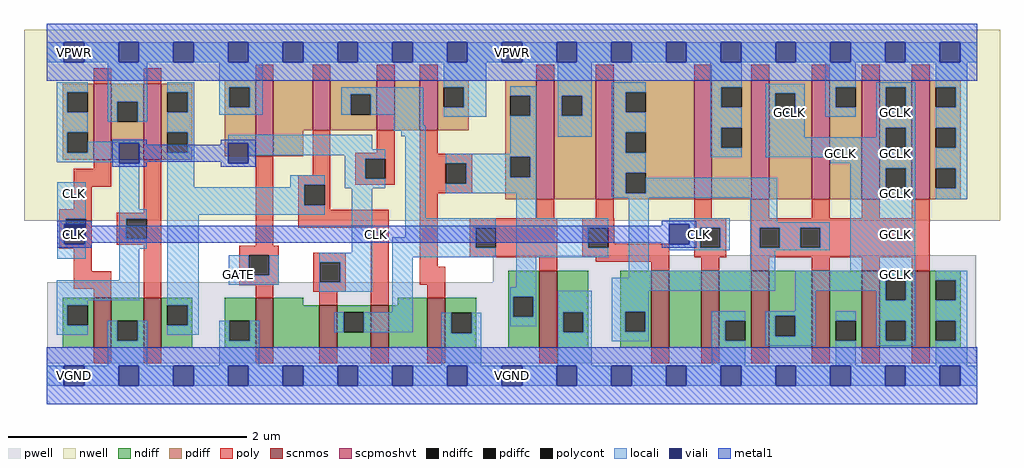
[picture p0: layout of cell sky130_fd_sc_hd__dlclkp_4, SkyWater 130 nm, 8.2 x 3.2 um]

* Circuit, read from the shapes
.subckt sky130_fd_sc_hd__dlclkp_4 CLK GATE VGND VNB VPB VPWR GCLK
XM1 VGND CLK n1 VNB sky130_fd_pr__nfet_01v8 w=0.42 l=0.15
XM2 n2 n1 VGND VNB sky130_fd_pr__nfet_01v8 w=0.42 l=0.15
XM3 n3 GATE VGND VNB sky130_fd_pr__nfet_01v8 w=0.42 l=0.15
XM4 n4 n1 n3 VNB sky130_fd_pr__nfet_01v8 w=0.36 l=0.15
XM5 n5 n2 n4 VNB sky130_fd_pr__nfet_01v8 w=0.36 l=0.15
XM6 VGND n6 n5 VNB sky130_fd_pr__nfet_01v8 w=0.42 l=0.15
XM7 VGND n4 n6 VNB sky130_fd_pr__nfet_01v8 w=0.65 l=0.15
XM8 n7 n6 n8 VNB sky130_fd_pr__nfet_01v8 w=0.65 l=0.15
XM9 VGND CLK n7 VNB sky130_fd_pr__nfet_01v8 w=0.65 l=0.15
XM10 GCLK n8 VGND VNB sky130_fd_pr__nfet_01v8 w=0.65 l=0.15 m=4
XM11 VPWR CLK n1 VPB sky130_fd_pr__pfet_01v8_hvt w=0.64 l=0.15
XM12 n2 n1 VPWR VPB sky130_fd_pr__pfet_01v8_hvt w=0.64 l=0.15
XM13 n9 GATE VPWR VPB sky130_fd_pr__pfet_01v8_hvt w=0.64 l=0.15
XM14 n4 n2 n9 VPB sky130_fd_pr__pfet_01v8_hvt w=0.42 l=0.15
XM15 n10 n1 n4 VPB sky130_fd_pr__pfet_01v8_hvt w=0.42 l=0.15
XM16 VPWR n6 n10 VPB sky130_fd_pr__pfet_01v8_hvt w=0.42 l=0.15
XM17 VPWR n4 n6 VPB sky130_fd_pr__pfet_01v8_hvt w=1 l=0.15
XM18 n8 n6 VPWR VPB sky130_fd_pr__pfet_01v8_hvt w=1 l=0.15
XM19 VPWR CLK n8 VPB sky130_fd_pr__pfet_01v8_hvt w=1 l=0.15
XM20 GCLK n8 VPWR VPB sky130_fd_pr__pfet_01v8_hvt w=1 l=0.15 m=4
.ends

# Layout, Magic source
magic
tech sky130A
magscale 1 2
<< nwell >>
rect -38 261 1602 582
<< pwell >>
rect 750 157 1562 203
rect 1 21 1562 157
rect 30 -17 64 21
<< scnmos >>
rect 79 47 109 131
rect 163 47 193 131
rect 351 47 381 131
rect 458 47 488 119
rect 545 47 575 119
rect 640 47 670 131
rect 828 47 858 177
rect 1016 47 1046 177
rect 1100 47 1130 177
rect 1184 47 1214 177
rect 1286 47 1316 177
rect 1370 47 1400 177
rect 1454 47 1484 177
<< scpmoshvt >>
rect 79 363 109 491
rect 163 363 193 491
rect 351 369 381 497
rect 447 413 477 497
rect 555 413 585 497
rect 627 413 657 497
rect 823 297 853 497
rect 923 297 953 497
rect 1088 297 1118 497
rect 1184 297 1214 497
rect 1286 297 1316 497
rect 1370 297 1400 497
rect 1454 297 1484 497
<< ndiff >>
rect 27 119 79 131
rect 27 85 35 119
rect 69 85 79 119
rect 27 47 79 85
rect 109 93 163 131
rect 109 59 119 93
rect 153 59 163 93
rect 109 47 163 59
rect 193 119 245 131
rect 193 85 203 119
rect 237 85 245 119
rect 193 47 245 85
rect 299 93 351 131
rect 299 59 307 93
rect 341 59 351 93
rect 299 47 351 59
rect 381 119 431 131
rect 776 133 828 177
rect 590 119 640 131
rect 381 47 458 119
rect 488 107 545 119
rect 488 73 499 107
rect 533 73 545 107
rect 488 47 545 73
rect 575 47 640 119
rect 670 106 722 131
rect 670 72 680 106
rect 714 72 722 106
rect 670 47 722 72
rect 776 99 784 133
rect 818 99 828 133
rect 776 47 828 99
rect 858 107 910 177
rect 858 73 868 107
rect 902 73 910 107
rect 858 47 910 73
rect 964 108 1016 177
rect 964 74 972 108
rect 1006 74 1016 108
rect 964 47 1016 74
rect 1046 47 1100 177
rect 1130 93 1184 177
rect 1130 59 1140 93
rect 1174 59 1184 93
rect 1130 47 1184 59
rect 1214 101 1286 177
rect 1214 67 1224 101
rect 1258 67 1286 101
rect 1214 47 1286 67
rect 1316 93 1370 177
rect 1316 59 1326 93
rect 1360 59 1370 93
rect 1316 47 1370 59
rect 1400 161 1454 177
rect 1400 127 1410 161
rect 1444 127 1454 161
rect 1400 93 1454 127
rect 1400 59 1410 93
rect 1444 59 1454 93
rect 1400 47 1454 59
rect 1484 161 1536 177
rect 1484 127 1494 161
rect 1528 127 1536 161
rect 1484 93 1536 127
rect 1484 59 1494 93
rect 1528 59 1536 93
rect 1484 47 1536 59
<< pdiff >>
rect 27 477 79 491
rect 27 443 35 477
rect 69 443 79 477
rect 27 409 79 443
rect 27 375 35 409
rect 69 375 79 409
rect 27 363 79 375
rect 109 461 163 491
rect 109 427 119 461
rect 153 427 163 461
rect 109 363 163 427
rect 193 477 245 491
rect 193 443 203 477
rect 237 443 245 477
rect 193 409 245 443
rect 193 375 203 409
rect 237 375 245 409
rect 193 363 245 375
rect 299 485 351 497
rect 299 451 307 485
rect 341 451 351 485
rect 299 369 351 451
rect 381 413 447 497
rect 477 473 555 497
rect 477 439 511 473
rect 545 439 555 473
rect 477 413 555 439
rect 585 413 627 497
rect 657 485 709 497
rect 657 451 667 485
rect 701 451 709 485
rect 657 413 709 451
rect 771 471 823 497
rect 771 437 779 471
rect 813 437 823 471
rect 381 369 431 413
rect 771 368 823 437
rect 771 334 779 368
rect 813 334 823 368
rect 771 297 823 334
rect 853 471 923 497
rect 853 437 866 471
rect 900 437 923 471
rect 853 297 923 437
rect 953 477 1088 497
rect 953 443 973 477
rect 1007 443 1088 477
rect 953 409 1088 443
rect 953 375 973 409
rect 1007 375 1088 409
rect 953 341 1088 375
rect 953 307 973 341
rect 1007 307 1088 341
rect 953 297 1088 307
rect 1118 485 1184 497
rect 1118 451 1134 485
rect 1168 451 1184 485
rect 1118 417 1184 451
rect 1118 383 1134 417
rect 1168 383 1184 417
rect 1118 297 1184 383
rect 1214 475 1286 497
rect 1214 441 1224 475
rect 1258 441 1286 475
rect 1214 297 1286 441
rect 1316 485 1370 497
rect 1316 451 1326 485
rect 1360 451 1370 485
rect 1316 297 1370 451
rect 1400 485 1454 497
rect 1400 451 1410 485
rect 1444 451 1454 485
rect 1400 417 1454 451
rect 1400 383 1410 417
rect 1444 383 1454 417
rect 1400 349 1454 383
rect 1400 315 1410 349
rect 1444 315 1454 349
rect 1400 297 1454 315
rect 1484 485 1536 497
rect 1484 451 1494 485
rect 1528 451 1536 485
rect 1484 417 1536 451
rect 1484 383 1494 417
rect 1528 383 1536 417
rect 1484 349 1536 383
rect 1484 315 1494 349
rect 1528 315 1536 349
rect 1484 297 1536 315
<< ndiffc >>
rect 35 85 69 119
rect 119 59 153 93
rect 203 85 237 119
rect 307 59 341 93
rect 499 73 533 107
rect 680 72 714 106
rect 784 99 818 133
rect 868 73 902 107
rect 972 74 1006 108
rect 1140 59 1174 93
rect 1224 67 1258 101
rect 1326 59 1360 93
rect 1410 127 1444 161
rect 1410 59 1444 93
rect 1494 127 1528 161
rect 1494 59 1528 93
<< pdiffc >>
rect 35 443 69 477
rect 35 375 69 409
rect 119 427 153 461
rect 203 443 237 477
rect 203 375 237 409
rect 307 451 341 485
rect 511 439 545 473
rect 667 451 701 485
rect 779 437 813 471
rect 779 334 813 368
rect 866 437 900 471
rect 973 443 1007 477
rect 973 375 1007 409
rect 973 307 1007 341
rect 1134 451 1168 485
rect 1134 383 1168 417
rect 1224 441 1258 475
rect 1326 451 1360 485
rect 1410 451 1444 485
rect 1410 383 1444 417
rect 1410 315 1444 349
rect 1494 451 1528 485
rect 1494 383 1528 417
rect 1494 315 1528 349
<< poly >>
rect 79 491 109 517
rect 163 491 193 517
rect 351 497 381 523
rect 447 497 477 523
rect 555 497 585 523
rect 627 497 657 523
rect 823 497 853 523
rect 923 497 953 523
rect 1088 497 1118 523
rect 1184 497 1214 523
rect 1286 497 1316 523
rect 1370 497 1400 523
rect 1454 497 1484 523
rect 79 348 109 363
rect 46 318 109 348
rect 46 280 76 318
rect 21 264 76 280
rect 163 274 193 363
rect 21 230 32 264
rect 66 230 76 264
rect 21 214 76 230
rect 118 264 193 274
rect 118 230 134 264
rect 168 230 193 264
rect 118 220 193 230
rect 46 176 76 214
rect 46 146 109 176
rect 79 131 109 146
rect 163 131 193 220
rect 351 219 381 369
rect 447 337 477 413
rect 555 375 585 413
rect 423 321 477 337
rect 519 365 585 375
rect 519 331 535 365
rect 569 331 585 365
rect 519 321 585 331
rect 627 373 657 413
rect 627 357 715 373
rect 627 323 671 357
rect 705 323 715 357
rect 423 287 433 321
rect 467 287 477 321
rect 423 279 477 287
rect 627 307 715 323
rect 423 249 575 279
rect 324 203 390 219
rect 324 169 340 203
rect 374 169 390 203
rect 324 153 390 169
rect 448 191 503 207
rect 448 157 459 191
rect 493 157 503 191
rect 324 152 381 153
rect 351 131 381 152
rect 448 141 503 157
rect 458 119 488 141
rect 545 119 575 249
rect 627 183 657 307
rect 823 265 853 297
rect 923 265 953 297
rect 1088 265 1118 297
rect 1184 265 1214 297
rect 1286 265 1316 297
rect 1370 265 1400 297
rect 1454 265 1484 297
rect 711 249 858 265
rect 711 215 721 249
rect 755 215 858 249
rect 711 199 858 215
rect 900 249 954 265
rect 900 215 910 249
rect 944 222 954 249
rect 1088 249 1142 265
rect 944 215 1046 222
rect 900 199 1046 215
rect 1088 215 1098 249
rect 1132 215 1142 249
rect 1088 199 1142 215
rect 1184 249 1484 265
rect 1184 215 1198 249
rect 1232 215 1266 249
rect 1300 215 1484 249
rect 1184 199 1484 215
rect 627 153 670 183
rect 828 177 858 199
rect 923 192 1046 199
rect 1016 177 1046 192
rect 1100 177 1130 199
rect 1184 177 1214 199
rect 1286 177 1316 199
rect 1370 177 1400 199
rect 1454 177 1484 199
rect 640 131 670 153
rect 79 21 109 47
rect 163 21 193 47
rect 351 21 381 47
rect 458 21 488 47
rect 545 21 575 47
rect 640 21 670 47
rect 828 21 858 47
rect 1016 21 1046 47
rect 1100 21 1130 47
rect 1184 21 1214 47
rect 1286 21 1316 47
rect 1370 21 1400 47
rect 1454 21 1484 47
<< polycont >>
rect 32 230 66 264
rect 134 230 168 264
rect 535 331 569 365
rect 671 323 705 357
rect 433 287 467 321
rect 340 169 374 203
rect 459 157 493 191
rect 721 215 755 249
rect 910 215 944 249
rect 1098 215 1132 249
rect 1198 215 1232 249
rect 1266 215 1300 249
<< locali >>
rect 0 527 29 561
rect 63 527 121 561
rect 155 527 213 561
rect 247 527 305 561
rect 339 527 397 561
rect 431 527 489 561
rect 523 527 581 561
rect 615 527 673 561
rect 707 527 765 561
rect 799 527 857 561
rect 891 527 949 561
rect 983 527 1041 561
rect 1075 527 1133 561
rect 1167 527 1225 561
rect 1259 527 1317 561
rect 1351 527 1409 561
rect 1443 527 1501 561
rect 1535 527 1564 561
rect 17 477 69 493
rect 17 443 35 477
rect 17 409 69 443
rect 103 461 169 527
rect 103 427 119 461
rect 153 427 169 461
rect 203 477 248 493
rect 237 443 248 477
rect 17 375 35 409
rect 203 409 248 443
rect 290 485 363 527
rect 667 485 739 527
rect 290 451 307 485
rect 341 451 363 485
rect 290 439 363 451
rect 495 473 633 485
rect 495 439 511 473
rect 545 439 633 473
rect 583 421 633 439
rect 701 451 739 485
rect 667 435 739 451
rect 779 471 823 487
rect 813 437 823 471
rect 583 418 636 421
rect 583 412 637 418
rect 69 391 156 393
rect 69 375 122 391
rect 17 359 122 375
rect 18 264 66 325
rect 18 255 32 264
rect 18 221 30 255
rect 64 221 66 230
rect 18 197 66 221
rect 122 280 156 357
rect 237 375 248 409
rect 203 317 248 375
rect 305 391 547 405
rect 596 403 637 412
rect 339 381 547 391
rect 339 371 569 381
rect 501 365 569 371
rect 409 321 467 337
rect 409 317 433 321
rect 203 287 433 317
rect 501 331 535 365
rect 501 315 569 331
rect 122 264 168 280
rect 122 230 134 264
rect 122 214 168 230
rect 203 271 467 287
rect 122 161 156 214
rect 17 127 156 161
rect 17 119 69 127
rect 17 85 35 119
rect 203 119 256 271
rect 513 207 547 315
rect 603 265 637 403
rect 779 373 823 437
rect 859 471 916 527
rect 859 437 866 471
rect 900 437 916 471
rect 859 402 916 437
rect 950 477 1007 493
rect 950 443 973 477
rect 950 409 1007 443
rect 671 368 823 373
rect 671 357 779 368
rect 705 334 779 357
rect 813 334 823 368
rect 705 323 823 334
rect 671 307 823 323
rect 789 265 823 307
rect 950 375 973 409
rect 950 341 1007 375
rect 1115 485 1168 527
rect 1115 451 1134 485
rect 1115 417 1168 451
rect 1115 383 1134 417
rect 1115 367 1168 383
rect 1208 475 1274 491
rect 1208 441 1224 475
rect 1258 441 1274 475
rect 1208 401 1274 441
rect 1308 485 1360 527
rect 1308 451 1326 485
rect 1308 435 1360 451
rect 1394 485 1460 493
rect 1394 451 1410 485
rect 1444 451 1460 485
rect 1394 417 1460 451
rect 1394 401 1410 417
rect 1208 383 1410 401
rect 1444 383 1460 417
rect 1208 367 1460 383
rect 1317 357 1460 367
rect 950 307 973 341
rect 1350 349 1460 357
rect 1007 307 1228 333
rect 950 299 1228 307
rect 603 249 755 265
rect 603 233 721 249
rect 306 169 340 203
rect 374 169 390 203
rect 306 153 390 169
rect 458 191 547 207
rect 458 157 459 191
rect 493 157 547 191
rect 458 141 547 157
rect 581 215 721 233
rect 581 199 755 215
rect 789 249 944 265
rect 789 215 910 249
rect 789 199 944 215
rect 17 69 69 85
rect 103 59 119 93
rect 153 59 169 93
rect 237 85 256 119
rect 581 107 615 199
rect 789 149 823 199
rect 978 177 1012 299
rect 1046 255 1148 265
rect 1080 249 1148 255
rect 1080 221 1098 249
rect 1046 215 1098 221
rect 1132 215 1148 249
rect 1046 211 1148 215
rect 1182 258 1228 299
rect 1350 315 1410 349
rect 1444 315 1460 349
rect 1182 249 1316 258
rect 1182 215 1198 249
rect 1232 215 1266 249
rect 1300 215 1316 249
rect 1182 211 1316 215
rect 1182 177 1224 211
rect 1350 177 1460 315
rect 1494 485 1547 527
rect 1528 451 1547 485
rect 1494 417 1547 451
rect 1528 383 1547 417
rect 1494 349 1547 383
rect 1528 315 1547 349
rect 1494 297 1547 315
rect 978 165 1224 177
rect 203 69 256 85
rect 103 17 169 59
rect 290 59 307 93
rect 341 59 357 93
rect 483 73 499 107
rect 533 73 615 107
rect 779 133 823 149
rect 950 143 1224 165
rect 1258 161 1460 177
rect 1258 143 1410 161
rect 290 17 357 59
rect 663 72 680 106
rect 714 72 730 106
rect 779 99 784 133
rect 818 99 823 133
rect 779 83 823 99
rect 859 107 916 143
rect 663 17 730 72
rect 859 73 868 107
rect 902 73 916 107
rect 859 17 916 73
rect 950 108 1012 143
rect 1258 109 1292 143
rect 1394 127 1410 143
rect 1444 127 1460 161
rect 950 74 972 108
rect 1006 74 1012 108
rect 950 58 1012 74
rect 1118 93 1174 109
rect 1118 59 1140 93
rect 1118 17 1174 59
rect 1208 101 1292 109
rect 1208 67 1224 101
rect 1258 67 1292 101
rect 1208 51 1292 67
rect 1326 93 1360 109
rect 1326 17 1360 59
rect 1394 93 1460 127
rect 1394 59 1410 93
rect 1444 59 1460 93
rect 1394 51 1460 59
rect 1494 161 1547 177
rect 1528 127 1547 161
rect 1494 93 1547 127
rect 1528 59 1547 93
rect 1494 17 1547 59
rect 0 -17 29 17
rect 63 -17 121 17
rect 155 -17 213 17
rect 247 -17 305 17
rect 339 -17 397 17
rect 431 -17 489 17
rect 523 -17 581 17
rect 615 -17 673 17
rect 707 -17 765 17
rect 799 -17 857 17
rect 891 -17 949 17
rect 983 -17 1041 17
rect 1075 -17 1133 17
rect 1167 -17 1225 17
rect 1259 -17 1317 17
rect 1351 -17 1409 17
rect 1443 -17 1501 17
rect 1535 -17 1564 17
<< viali >>
rect 29 527 63 561
rect 121 527 155 561
rect 213 527 247 561
rect 305 527 339 561
rect 397 527 431 561
rect 489 527 523 561
rect 581 527 615 561
rect 673 527 707 561
rect 765 527 799 561
rect 857 527 891 561
rect 949 527 983 561
rect 1041 527 1075 561
rect 1133 527 1167 561
rect 1225 527 1259 561
rect 1317 527 1351 561
rect 1409 527 1443 561
rect 1501 527 1535 561
rect 122 357 156 391
rect 30 230 32 255
rect 32 230 64 255
rect 30 221 64 230
rect 305 357 339 391
rect 1046 221 1080 255
rect 29 -17 63 17
rect 121 -17 155 17
rect 213 -17 247 17
rect 305 -17 339 17
rect 397 -17 431 17
rect 489 -17 523 17
rect 581 -17 615 17
rect 673 -17 707 17
rect 765 -17 799 17
rect 857 -17 891 17
rect 949 -17 983 17
rect 1041 -17 1075 17
rect 1133 -17 1167 17
rect 1225 -17 1259 17
rect 1317 -17 1351 17
rect 1409 -17 1443 17
rect 1501 -17 1535 17
<< metal1 >>
rect 0 561 1564 592
rect 0 527 29 561
rect 63 527 121 561
rect 155 527 213 561
rect 247 527 305 561
rect 339 527 397 561
rect 431 527 489 561
rect 523 527 581 561
rect 615 527 673 561
rect 707 527 765 561
rect 799 527 857 561
rect 891 527 949 561
rect 983 527 1041 561
rect 1075 527 1133 561
rect 1167 527 1225 561
rect 1259 527 1317 561
rect 1351 527 1409 561
rect 1443 527 1501 561
rect 1535 527 1564 561
rect 0 496 1564 527
rect 110 391 168 397
rect 110 357 122 391
rect 156 388 168 391
rect 293 391 351 397
rect 293 388 305 391
rect 156 360 305 388
rect 156 357 168 360
rect 110 351 168 357
rect 293 357 305 360
rect 339 357 351 391
rect 293 351 351 357
rect 18 255 76 261
rect 18 221 30 255
rect 64 252 76 255
rect 1034 255 1092 261
rect 1034 252 1046 255
rect 64 224 1046 252
rect 64 221 76 224
rect 18 215 76 221
rect 1034 221 1046 224
rect 1080 221 1092 255
rect 1034 215 1092 221
rect 0 17 1564 48
rect 0 -17 29 17
rect 63 -17 121 17
rect 155 -17 213 17
rect 247 -17 305 17
rect 339 -17 397 17
rect 431 -17 489 17
rect 523 -17 581 17
rect 615 -17 673 17
rect 707 -17 765 17
rect 799 -17 857 17
rect 891 -17 949 17
rect 983 -17 1041 17
rect 1075 -17 1133 17
rect 1167 -17 1225 17
rect 1259 -17 1317 17
rect 1351 -17 1409 17
rect 1443 -17 1501 17
rect 1535 -17 1564 17
rect 0 -48 1564 -17
<< labels >>
flabel locali s 30 289 64 323 0 FreeSans 200 0 0 0 CLK
port 1 nsew clock input
flabel locali s 1317 357 1351 391 0 FreeSans 200 0 0 0 GCLK
port 7 nsew signal output
flabel locali s 1409 153 1443 187 0 FreeSans 200 0 0 0 GCLK
port 7 nsew signal output
flabel locali s 1409 425 1443 459 0 FreeSans 200 0 0 0 GCLK
port 7 nsew signal output
flabel locali s 1409 357 1443 391 0 FreeSans 200 0 0 0 GCLK
port 7 nsew signal output
flabel locali s 1409 221 1443 255 0 FreeSans 200 0 0 0 GCLK
port 7 nsew signal output
flabel locali s 1231 425 1265 459 0 FreeSans 200 0 0 0 GCLK
port 7 nsew signal output
flabel locali s 1409 289 1443 323 0 FreeSans 200 0 0 0 GCLK
port 7 nsew signal output
flabel locali s 30 221 64 255 0 FreeSans 200 0 0 0 CLK
port 1 nsew clock input
flabel locali s 306 153 340 187 0 FreeSans 200 0 0 0 GATE
port 2 nsew signal input
flabel metal1 s 30 527 64 561 0 FreeSans 200 0 0 0 VPWR
port 6 nsew power bidirectional abutment
flabel metal1 s 30 -17 64 17 0 FreeSans 200 0 0 0 VGND
port 3 nsew ground bidirectional abutment
flabel metal1 s 47 0 47 0 0 FreeSans 200 0 0 0 VGND
flabel metal1 s 47 544 47 544 0 FreeSans 200 0 0 0 VPWR
flabel nwell s 30 527 64 561 0 FreeSans 200 0 0 0 VPB
port 5 nsew power bidirectional
flabel pwell s 30 -17 64 17 0 FreeSans 200 0 0 0 VNB
port 4 nsew ground bidirectional
rlabel comment s 0 0 0 0 4 dlclkp_4
rlabel locali s 1046 211 1148 265 1 CLK
port 1 nsew clock input
rlabel metal1 s 1034 252 1092 261 1 CLK
port 1 nsew clock input
rlabel metal1 s 1034 215 1092 224 1 CLK
port 1 nsew clock input
rlabel metal1 s 18 252 76 261 1 CLK
port 1 nsew clock input
rlabel metal1 s 18 224 1092 252 1 CLK
port 1 nsew clock input
rlabel metal1 s 18 215 76 224 1 CLK
port 1 nsew clock input
rlabel metal1 s 0 -48 1564 48 1 VGND
port 3 nsew ground bidirectional abutment
rlabel metal1 s 0 496 1564 592 1 VPWR
port 6 nsew power bidirectional abutment
<< properties >>
string FIXED_BBOX 0 0 1564 544
string GDS_END 2669420
string GDS_FILE $PDKPATH/libs.ref/sky130_fd_sc_hd/gds/sky130_fd_sc_hd.gds
string GDS_START 2656622
string LEFclass CORE
string LEFsite unithd
string LEFsymmetry X Y R90
<< end >>
